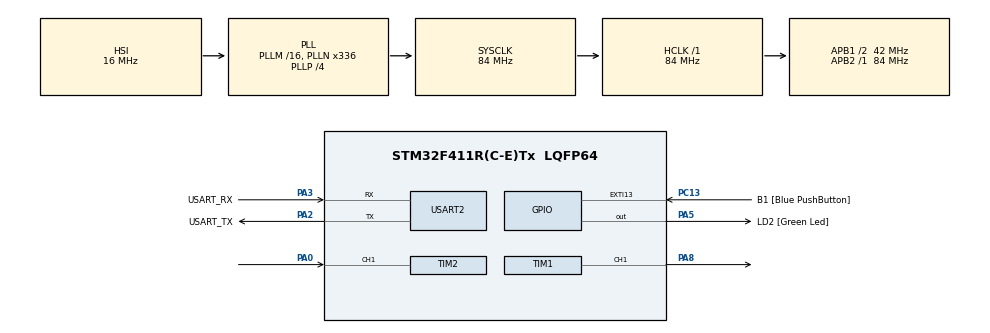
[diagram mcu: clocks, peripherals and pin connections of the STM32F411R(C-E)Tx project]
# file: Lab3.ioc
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Dma.Request0=TIM2_CH1
Dma.TIM2_CH1.0.Direction=DMA_PERIPH_TO_MEMORY
Dma.TIM2_CH1.0.FIFOMode=DMA_FIFOMODE_DISABLE
Dma.TIM2_CH1.0.Instance=DMA1_Stream5
Dma.TIM2_CH1.0.MemDataAlignment=DMA_MDATAALIGN_WORD
Dma.TIM2_CH1.0.MemInc=DMA_MINC_ENABLE
Dma.TIM2_CH1.0.Mode=DMA_CIRCULAR
Dma.TIM2_CH1.0.PeriphDataAlignment=DMA_PDATAALIGN_WORD
Dma.TIM2_CH1.0.PeriphInc=DMA_PINC_DISABLE
Dma.TIM2_CH1.0.Priority=DMA_PRIORITY_LOW
Mcu.Family=STM32F4
Mcu.Name=STM32F411R(C-E)Tx
Mcu.Package=LQFP64
NVIC.DMA1_Stream5_IRQn=true\:0\:0\:false\:false\:true\:false\:true\:true
NVIC.PriorityGroup=NVIC_PRIORITYGROUP_0
PA0-WKUP.Signal=S_TIM2_CH1_ETR
PA13.GPIO_Label=TMS
PA13.Mode=Serial_Wire
PA13.Signal=SYS_JTMS-SWDIO
PA14.GPIO_Label=TCK
PA14.Mode=Serial_Wire
PA14.Signal=SYS_JTCK-SWCLK
PA2.GPIO_Label=USART_TX
PA2.Mode=Asynchronous
PA2.Signal=USART2_TX
PA3.GPIO_Label=USART_RX
PA3.Mode=Asynchronous
PA3.Signal=USART2_RX
PA5.GPIO_Label=LD2 [Green Led]
PA5.Signal=GPIO_Output
PA8.Signal=S_TIM1_CH1
PB3.GPIO_Label=SWO
PB3.Signal=SYS_JTDO-SWO
PC13-ANTI_TAMP.GPIO_Label=B1 [Blue PushButton]
PC13-ANTI_TAMP.GPIO_ModeDefaultEXTI=GPIO_MODE_IT_FALLING
PC13-ANTI_TAMP.Signal=GPXTI13
PC14-OSC32_IN.Mode=LSE-External-Oscillator
PC14-OSC32_IN.Signal=RCC_OSC32_IN
PC15-OSC32_OUT.Mode=LSE-External-Oscillator
PC15-OSC32_OUT.Signal=RCC_OSC32_OUT
PH0\ -\ OSC_IN.Mode=HSE-External-Clock-Source
PH0\ -\ OSC_IN.Signal=RCC_OSC_IN
PH1\ -\ OSC_OUT.Mode=HSE-External-Clock-Source
PH1\ -\ OSC_OUT.Signal=RCC_OSC_OUT
ProjectManager.HeapSize=0x200
ProjectManager.StackSize=0x400
ProjectManager.TargetToolchain=STM32CubeIDE
RCC.48MHZClocksFreq_Value=84000000
RCC.AHBFreq_Value=84000000
RCC.APB1CLKDivider=RCC_HCLK_DIV2
RCC.APB1Freq_Value=42000000
RCC.APB1TimFreq_Value=84000000
RCC.APB2Freq_Value=84000000
RCC.APB2TimFreq_Value=84000000
RCC.CortexFreq_Value=84000000
RCC.FLatency-AdvancedSettings=FLASH_LATENCY_2
RCC.HCLKFreq_Value=84000000
RCC.HSE_VALUE=8000000
RCC.HSI_VALUE=16000000
RCC.PLLN=336
RCC.PLLP=RCC_PLLP_DIV4
RCC.SYSCLKFreq_VALUE=84000000
RCC.SYSCLKSource=RCC_SYSCLKSOURCE_PLLCLK
RCC.VCOOutputFreq_Value=336000000
SH.S_TIM1_CH1.0=TIM1_CH1,PWM Generation1 CH1
SH.S_TIM2_CH1_ETR.0=TIM2_CH1,Input_Capture1_from_TI1
TIM1.Channel-PWM\ Generation1\ CH1=TIM_CHANNEL_1
TIM1.Period=1000
TIM1.Prescaler=83
TIM1.Pulse-PWM\ Generation1\ CH1=500
TIM2.Channel-Input_Capture1_from_TI1=TIM_CHANNEL_1
TIM2.Prescaler=83
USART2.VirtualMode=VM_ASYNC
VP_TIM1_VS_ClockSourceINT.Mode=Internal
VP_TIM2_VS_ClockSourceINT.Mode=Internal
board=NUCLEO-F411RE

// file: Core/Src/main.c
/* USER CODE BEGIN Header */
/**
  ******************************************************************************
  * @file           : main.c
  * @brief          : Main program body
  ******************************************************************************
  * @attention
  *
  * Copyright (c) 2023 STMicroelectronics.
  * All rights reserved.
  *
  * This software is licensed under terms that can be found in the LICENSE file
  * in the root directory of this software component.
  * If no LICENSE file comes with this software, it is provided AS-IS.
  *
  ******************************************************************************
  */
/* USER CODE END Header */
#include "main.h"

/* USER CODE BEGIN Includes */
#define IC_BUFFFER_SIZE 20
/* USER CODE END Includes */

TIM_HandleTypeDef htim1;
TIM_HandleTypeDef htim2;
DMA_HandleTypeDef hdma_tim2_ch1;

UART_HandleTypeDef huart2;

/* USER CODE BEGIN PV */
uint32_t InputCaptureBuffer[IC_BUFFFER_SIZE];
float avgRisingEgdePeriod;
uint32_t duty = 0;
uint32_t MotorSetDuty = 50;
double MotorReadRPM = 0.0;
float MotorSetRPM = 0.0;
uint8_t MotorControlEnable = 0;
/* USER CODE END PV */

void SystemClock_Config(void);
static void MX_GPIO_Init(void);
static void MX_DMA_Init(void);
static void MX_USART2_UART_Init(void);
static void MX_TIM2_Init(void);
static void MX_TIM1_Init(void);
/* USER CODE BEGIN PFP */
float IC_Calc_Period();
/* USER CODE END PFP */

int main(void)
{

  /* MCU Configuration--------------------------------------------------------*/

  /* Reset of all peripherals, Initializes the Flash interface and the Systick. */
  HAL_Init();

  /* Configure the system clock */
  SystemClock_Config();

  /* Initialize all configured peripherals */
  MX_GPIO_Init();
  MX_DMA_Init();
  MX_USART2_UART_Init();
  MX_TIM2_Init();
  MX_TIM1_Init();
  /* USER CODE BEGIN 2 */
  HAL_TIM_Base_Start(&htim2);
  HAL_TIM_IC_Start_DMA(&htim2, TIM_CHANNEL_1, InputCaptureBuffer, IC_BUFFFER_SIZE);

  HAL_TIM_Base_Start(&htim1);
  HAL_TIM_PWM_Start(&htim1, TIM_CHANNEL_1);
  /* USER CODE END 2 */

  /* Infinite loop */
  while (1)
  {

    /* USER CODE BEGIN 3 */
	  static uint32_t timestamp = 0;
	  if (HAL_GetTick() >= timestamp){
		  timestamp = HAL_GetTick()+1000;
		  avgRisingEgdePeriod = IC_Calc_Period();
		  // Calculate RPM
		  // RPM = (PPS*60)/12*(1/64)
		  MotorReadRPM = 60/(64*12*(avgRisingEgdePeriod/1000000));
//		  duty = MotorSetDuty*10;
//		  __HAL_TIM_SET_COMPARE(&htim1, TIM_CHANNEL_1, duty);

		  // Enable Set RPM
		  if (MotorControlEnable == 1){
			  // RPM = %duty*(MaxRPM/100)
			  // VRef. 3.3V /approx Max 25 RPM
			  duty = (MotorSetRPM/0.25*10.0);
			  __HAL_TIM_SET_COMPARE(&htim1, TIM_CHANNEL_1, duty);
		  }

		  // Disable Set RPM, Back to Set Duty
		  else if(MotorControlEnable == 0){
			  duty = MotorSetDuty*10;
			  __HAL_TIM_SET_COMPARE(&htim1, TIM_CHANNEL_1, duty);
		  }
	  }
  }
  /* USER CODE END 3 */
}

void SystemClock_Config(void)
{
  RCC_OscInitTypeDef RCC_OscInitStruct = {0};
  RCC_ClkInitTypeDef RCC_ClkInitStruct = {0};

  /** Configure the main internal regulator output voltage
  */
  __HAL_RCC_PWR_CLK_ENABLE();
  __HAL_PWR_VOLTAGESCALING_CONFIG(PWR_REGULATOR_VOLTAGE_SCALE1);

  /** Initializes the RCC Oscillators according to the specified parameters
  * in the RCC_OscInitTypeDef structure.
  */
  RCC_OscInitStruct.OscillatorType = RCC_OSCILLATORTYPE_HSI;
  RCC_OscInitStruct.HSIState = RCC_HSI_ON;
  RCC_OscInitStruct.HSICalibrationValue = RCC_HSICALIBRATION_DEFAULT;
  RCC_OscInitStruct.PLL.PLLState = RCC_PLL_ON;
  RCC_OscInitStruct.PLL.PLLSource = RCC_PLLSOURCE_HSI;
  RCC_OscInitStruct.PLL.PLLM = 16;
  RCC_OscInitStruct.PLL.PLLN = 336;
  RCC_OscInitStruct.PLL.PLLP = RCC_PLLP_DIV4;
  RCC_OscInitStruct.PLL.PLLQ = 4;
  if (HAL_RCC_OscConfig(&RCC_OscInitStruct) != HAL_OK)
  {
    Error_Handler();
  }

  /** Initializes the CPU, AHB and APB buses clocks
  */
  RCC_ClkInitStruct.ClockType = RCC_CLOCKTYPE_HCLK|RCC_CLOCKTYPE_SYSCLK
                              |RCC_CLOCKTYPE_PCLK1|RCC_CLOCKTYPE_PCLK2;
  RCC_ClkInitStruct.SYSCLKSource = RCC_SYSCLKSOURCE_PLLCLK;
  RCC_ClkInitStruct.AHBCLKDivider = RCC_SYSCLK_DIV1;
  RCC_ClkInitStruct.APB1CLKDivider = RCC_HCLK_DIV2;
  RCC_ClkInitStruct.APB2CLKDivider = RCC_HCLK_DIV1;

  if (HAL_RCC_ClockConfig(&RCC_ClkInitStruct, FLASH_LATENCY_2) != HAL_OK)
  {
    Error_Handler();
  }
}

static void MX_TIM1_Init(void)
{

  TIM_ClockConfigTypeDef sClockSourceConfig = {0};
  TIM_MasterConfigTypeDef sMasterConfig = {0};
  TIM_OC_InitTypeDef sConfigOC = {0};
  TIM_BreakDeadTimeConfigTypeDef sBreakDeadTimeConfig = {0};

  htim1.Instance = TIM1;
  htim1.Init.Prescaler = 83;
  htim1.Init.CounterMode = TIM_COUNTERMODE_UP;
  htim1.Init.Period = 1000;
  htim1.Init.ClockDivision = TIM_CLOCKDIVISION_DIV1;
  htim1.Init.RepetitionCounter = 0;
  htim1.Init.AutoReloadPreload = TIM_AUTORELOAD_PRELOAD_DISABLE;
  if (HAL_TIM_Base_Init(&htim1) != HAL_OK)
  {
    Error_Handler();
  }
  sClockSourceConfig.ClockSource = TIM_CLOCKSOURCE_INTERNAL;
  if (HAL_TIM_ConfigClockSource(&htim1, &sClockSourceConfig) != HAL_OK)
  {
    Error_Handler();
  }
  if (HAL_TIM_PWM_Init(&htim1) != HAL_OK)
  {
    Error_Handler();
  }
  sMasterConfig.MasterOutputTrigger = TIM_TRGO_RESET;
  sMasterConfig.MasterSlaveMode = TIM_MASTERSLAVEMODE_DISABLE;
  if (HAL_TIMEx_MasterConfigSynchronization(&htim1, &sMasterConfig) != HAL_OK)
  {
    Error_Handler();
  }
  sConfigOC.OCMode = TIM_OCMODE_PWM1;
  sConfigOC.Pulse = 500;
  sConfigOC.OCPolarity = TIM_OCPOLARITY_HIGH;
  sConfigOC.OCNPolarity = TIM_OCNPOLARITY_HIGH;
  sConfigOC.OCFastMode = TIM_OCFAST_DISABLE;
  sConfigOC.OCIdleState = TIM_OCIDLESTATE_RESET;
  sConfigOC.OCNIdleState = TIM_OCNIDLESTATE_RESET;
  if (HAL_TIM_PWM_ConfigChannel(&htim1, &sConfigOC, TIM_CHANNEL_1) != HAL_OK)
  {
    Error_Handler();
  }
  sBreakDeadTimeConfig.OffStateRunMode = TIM_OSSR_DISABLE;
  sBreakDeadTimeConfig.OffStateIDLEMode = TIM_OSSI_DISABLE;
  sBreakDeadTimeConfig.LockLevel = TIM_LOCKLEVEL_OFF;
  sBreakDeadTimeConfig.DeadTime = 0;
  sBreakDeadTimeConfig.BreakState = TIM_BREAK_DISABLE;
  sBreakDeadTimeConfig.BreakPolarity = TIM_BREAKPOLARITY_HIGH;
  sBreakDeadTimeConfig.AutomaticOutput = TIM_AUTOMATICOUTPUT_DISABLE;
  if (HAL_TIMEx_ConfigBreakDeadTime(&htim1, &sBreakDeadTimeConfig) != HAL_OK)
  {
    Error_Handler();
  }
  HAL_TIM_MspPostInit(&htim1);

}

static void MX_TIM2_Init(void)
{

  TIM_ClockConfigTypeDef sClockSourceConfig = {0};
  TIM_MasterConfigTypeDef sMasterConfig = {0};
  TIM_IC_InitTypeDef sConfigIC = {0};

  htim2.Instance = TIM2;
  htim2.Init.Prescaler = 83;
  htim2.Init.CounterMode = TIM_COUNTERMODE_UP;
  htim2.Init.Period = 4294967295;
  htim2.Init.ClockDivision = TIM_CLOCKDIVISION_DIV1;
  htim2.Init.AutoReloadPreload = TIM_AUTORELOAD_PRELOAD_DISABLE;
  if (HAL_TIM_Base_Init(&htim2) != HAL_OK)
  {
    Error_Handler();
  }
  sClockSourceConfig.ClockSource = TIM_CLOCKSOURCE_INTERNAL;
  if (HAL_TIM_ConfigClockSource(&htim2, &sClockSourceConfig) != HAL_OK)
  {
    Error_Handler();
  }
  if (HAL_TIM_IC_Init(&htim2) != HAL_OK)
  {
    Error_Handler();
  }
  sMasterConfig.MasterOutputTrigger = TIM_TRGO_RESET;
  sMasterConfig.MasterSlaveMode = TIM_MASTERSLAVEMODE_DISABLE;
  if (HAL_TIMEx_MasterConfigSynchronization(&htim2, &sMasterConfig) != HAL_OK)
  {
    Error_Handler();
  }
  sConfigIC.ICPolarity = TIM_INPUTCHANNELPOLARITY_RISING;
  sConfigIC.ICSelection = TIM_ICSELECTION_DIRECTTI;
  sConfigIC.ICPrescaler = TIM_ICPSC_DIV1;
  sConfigIC.ICFilter = 0;
  if (HAL_TIM_IC_ConfigChannel(&htim2, &sConfigIC, TIM_CHANNEL_1) != HAL_OK)
  {
    Error_Handler();
  }

}

static void MX_USART2_UART_Init(void)
{

  huart2.Instance = USART2;
  huart2.Init.BaudRate = 115200;
  huart2.Init.WordLength = UART_WORDLENGTH_8B;
  huart2.Init.StopBits = UART_STOPBITS_1;
  huart2.Init.Parity = UART_PARITY_NONE;
  huart2.Init.Mode = UART_MODE_TX_RX;
  huart2.Init.HwFlowCtl = UART_HWCONTROL_NONE;
  huart2.Init.OverSampling = UART_OVERSAMPLING_16;
  if (HAL_UART_Init(&huart2) != HAL_OK)
  {
    Error_Handler();
  }

}

static void MX_DMA_Init(void)
{

  /* DMA controller clock enable */
  __HAL_RCC_DMA1_CLK_ENABLE();

  /* DMA interrupt init */
  /* DMA1_Stream5_IRQn interrupt configuration */
  HAL_NVIC_SetPriority(DMA1_Stream5_IRQn, 0, 0);
  HAL_NVIC_EnableIRQ(DMA1_Stream5_IRQn);

}

static void MX_GPIO_Init(void)
{
  GPIO_InitTypeDef GPIO_InitStruct = {0};

  /* GPIO Ports Clock Enable */
  __HAL_RCC_GPIOC_CLK_ENABLE();
  __HAL_RCC_GPIOH_CLK_ENABLE();
  __HAL_RCC_GPIOA_CLK_ENABLE();
  __HAL_RCC_GPIOB_CLK_ENABLE();

  /*Configure GPIO pin Output Level */
  HAL_GPIO_WritePin(LD2_GPIO_Port, LD2_Pin, GPIO_PIN_RESET);

  /*Configure GPIO pin : B1_Pin */
  GPIO_InitStruct.Pin = B1_Pin;
  GPIO_InitStruct.Mode = GPIO_MODE_IT_FALLING;
  GPIO_InitStruct.Pull = GPIO_NOPULL;
  HAL_GPIO_Init(B1_GPIO_Port, &GPIO_InitStruct);

  /*Configure GPIO pin : LD2_Pin */
  GPIO_InitStruct.Pin = LD2_Pin;
  GPIO_InitStruct.Mode = GPIO_MODE_OUTPUT_PP;
  GPIO_InitStruct.Pull = GPIO_NOPULL;
  GPIO_InitStruct.Speed = GPIO_SPEED_FREQ_LOW;
  HAL_GPIO_Init(LD2_GPIO_Port, &GPIO_InitStruct);

}

/* USER CODE BEGIN 4 */
float IC_Calc_Period(){
	uint32_t currentDMAPointer = IC_BUFFFER_SIZE - __HAL_DMA_GET_COUNTER((htim2.hdma[1]));
	uint32_t lastValidDMAPointer = (currentDMAPointer-1 + IC_BUFFFER_SIZE) % IC_BUFFFER_SIZE;
	uint32_t i = (lastValidDMAPointer + IC_BUFFFER_SIZE -5) % IC_BUFFFER_SIZE;

	int32_t sumdiff = 0;
	while (i != lastValidDMAPointer){
		uint32_t firstCapt = InputCaptureBuffer[i];
		uint32_t lastCapt = InputCaptureBuffer[(i+1)%IC_BUFFFER_SIZE];
		sumdiff += lastCapt-firstCapt;
		i = (i+1)%IC_BUFFFER_SIZE;
	}
	return sumdiff/ 5.0;
}
/* USER CODE END 4 */

void Error_Handler(void)
{
  __disable_irq();
  while (1)
  {
  }
}
